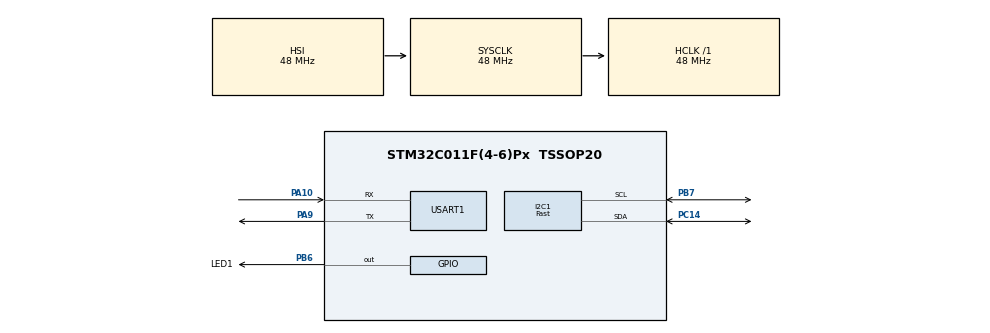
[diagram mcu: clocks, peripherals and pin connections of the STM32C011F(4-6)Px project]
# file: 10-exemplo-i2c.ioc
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I2C1.I2C_Speed_Mode=I2C_Fast
I2C1.Timing=0x2010091A
Mcu.Family=STM32C0
Mcu.Name=STM32C011F(4-6)Px
Mcu.Package=TSSOP20
PA10\ [PA12].Mode=Asynchronous
PA10\ [PA12].Signal=USART1_RX
PA13.Mode=Serial_Wire
PA13.Signal=DEBUG_SWDIO
PA14-BOOT0.Mode=Serial_Wire
PA14-BOOT0.Signal=DEBUG_SWCLK
PA9\ [PA11].Mode=Asynchronous
PA9\ [PA11].Signal=USART1_TX
PB6.GPIO_Label=LED1
PB6.Signal=GPIO_Output
PB7.Mode=I2C
PB7.Signal=I2C1_SCL
PC14-OSCX_IN\ (PC14).Mode=I2C
PC14-OSCX_IN\ (PC14).Signal=I2C1_SDA
ProjectManager.HeapSize=0x200
ProjectManager.StackSize=0x400
ProjectManager.TargetToolchain=STM32CubeIDE
RCC.ADCFreq_Value=48000000
RCC.AHBFreq_Value=48000000
RCC.CortexFreq_Value=48000000
RCC.EXTERNAL_CLOCK_VALUE=12288000
RCC.HCLKFreq_Value=48000000
RCC.HSE_VALUE=8000000
RCC.HSISYSCLKDivider=RCC_HSI_DIV1
RCC.HSI_VALUE=48000000
RCC.LSE_VALUE=32768
RCC.SYSCLKFreq_VALUE=48000000
USART1.VirtualMode-Asynchronous=VM_ASYNC
VP_SYS_VS_PINREMAP.Mode=PINREMAP
VP_SYS_VS_PINREMAP_10_12.Mode=PINREMAP_10_12
board=custom

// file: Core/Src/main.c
/* USER CODE BEGIN Header */
/**
  ******************************************************************************
  * @file           : main.c
  * @brief          : Main program body
  ******************************************************************************
  * @attention
  *
  * Copyright (c) 2023 STMicroelectronics.
  * All rights reserved.
  *
  * This software is licensed under terms that can be found in the LICENSE file
  * in the root directory of this software component.
  * If no LICENSE file comes with this software, it is provided AS-IS.
  *
  ******************************************************************************
  */
/* USER CODE END Header */
#include "main.h"
#include "i2c.h"
#include "usart.h"
#include "gpio.h"

/* USER CODE BEGIN Includes */

#include <stdio.h>	// Biblioteca necessária para utilização da função "sprintf()"
#include <string.h>	// Biblioteca necessária para utilização da função "strlen()"

#include "htu21d.h"	// Biblioteca do sensor de temperatura e umidade

/* USER CODE END Includes */

void SystemClock_Config(void);

int main(void)
{
  /* USER CODE BEGIN 1 */

	uint8_t uart_buffer[40];	// Vetor para transmissão serial

	 int16_t temperature = 0;	// Variável para armazenar temperatura em oC x 100
	uint16_t humidity    = 0;	// Variável para armazenar umidade relativa, em % x 10

  /* USER CODE END 1 */

  /* MCU Configuration--------------------------------------------------------*/

  /* Reset of all peripherals, Initializes the Flash interface and the Systick. */
  HAL_Init();

  /* Configure the system clock */
  SystemClock_Config();

  /* Initialize all configured peripherals */
  MX_GPIO_Init();
  MX_I2C1_Init();
  MX_USART1_UART_Init();
  /* USER CODE BEGIN 2 */

  strcpy((char *)uart_buffer, "Franzininho C0 - Exemplo 10 - I2C \r\n");
  HAL_UART_Transmit(&huart1, uart_buffer, strlen((char *)uart_buffer), 50);

  if (HTU_reset() == HAL_ERROR)	// Tenta fazer reset do sensor; em caso de falha,
  {								// envia mensagem de erro e fica preso num loop infinito.
	  strcpy((char *)uart_buffer, "Sensor nao detectado! \r\n");
	  HAL_UART_Transmit(&huart1, uart_buffer, strlen((char *)uart_buffer), 50);

	  while(1);
  }
  /* USER CODE END 2 */

  /* Infinite loop */
  /* USER CODE BEGIN WHILE */
  while (1)
  {

	  HAL_GPIO_WritePin(LED1_GPIO_Port, LED1_Pin, 1);	// Mantém LED1 aceso enquanto processa
	  	  	  	  	  	  	  	  	  	  	  	  	  	// coleta e transmissão de dados
	  temperature = HTU_getTemperature();
	  humidity    = HTU_getHumidity();

	  sprintf((char *)uart_buffer, "T: %3d.%02d oC ; RH: %3d.%1d %% \r\n",
			  	  	  	  	  	    temperature/100, temperature%100,
								    humidity   / 10, humidity   % 10);
	  HAL_UART_Transmit(&huart1, uart_buffer, strlen((char *)uart_buffer), 50);

	  //HAL_Delay(500);

	  HAL_GPIO_WritePin(LED1_GPIO_Port, LED1_Pin, 0);	// Apaga LED1
	  HAL_Delay(1000);									// Repete ciclo após 1 s

    /* USER CODE END WHILE */

  }
}

void SystemClock_Config(void)
{
  RCC_OscInitTypeDef RCC_OscInitStruct = {0};
  RCC_ClkInitTypeDef RCC_ClkInitStruct = {0};

  /** Initializes the RCC Oscillators according to the specified parameters
  * in the RCC_OscInitTypeDef structure.
  */
  RCC_OscInitStruct.OscillatorType = RCC_OSCILLATORTYPE_HSI;
  RCC_OscInitStruct.HSIState = RCC_HSI_ON;
  RCC_OscInitStruct.HSIDiv = RCC_HSI_DIV1;
  RCC_OscInitStruct.HSICalibrationValue = RCC_HSICALIBRATION_DEFAULT;
  if (HAL_RCC_OscConfig(&RCC_OscInitStruct) != HAL_OK)
  {
    Error_Handler();
  }

  /** Initializes the CPU, AHB and APB buses clocks
  */
  RCC_ClkInitStruct.ClockType = RCC_CLOCKTYPE_HCLK|RCC_CLOCKTYPE_SYSCLK
                              |RCC_CLOCKTYPE_PCLK1;
  RCC_ClkInitStruct.SYSCLKSource = RCC_SYSCLKSOURCE_HSI;
  RCC_ClkInitStruct.SYSCLKDivider = RCC_SYSCLK_DIV1;
  RCC_ClkInitStruct.AHBCLKDivider = RCC_HCLK_DIV1;
  RCC_ClkInitStruct.APB1CLKDivider = RCC_APB1_DIV1;

  if (HAL_RCC_ClockConfig(&RCC_ClkInitStruct, FLASH_LATENCY_1) != HAL_OK)
  {
    Error_Handler();
  }
}

void Error_Handler(void)
{
  __disable_irq();
  while (1)
  {
  }
}
